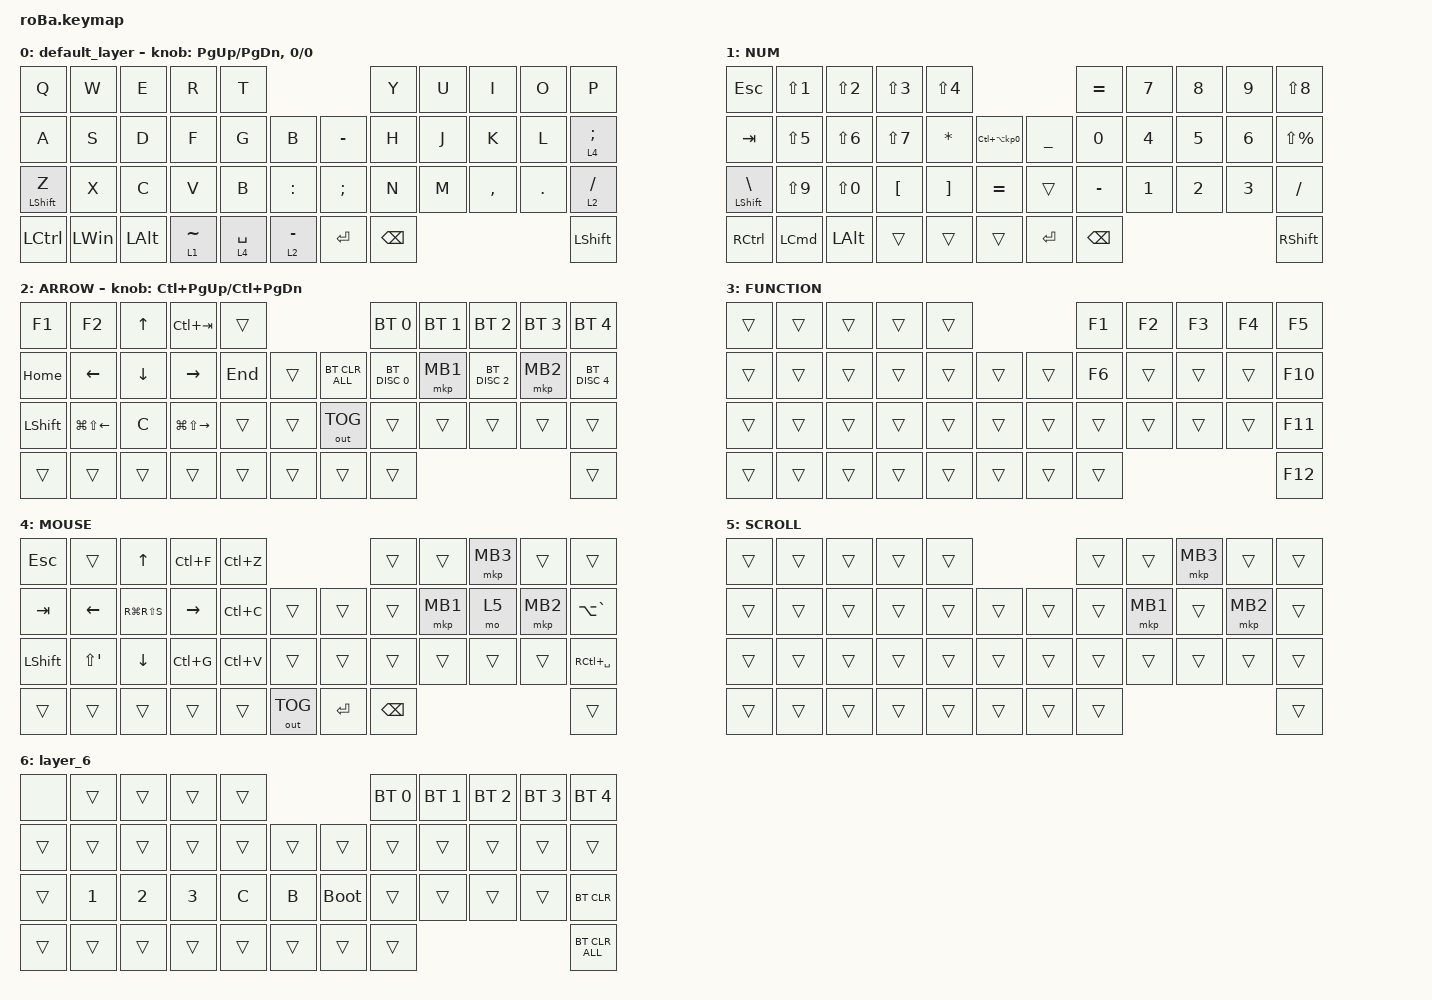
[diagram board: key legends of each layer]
#include <behaviors.dtsi>
#include <dt-bindings/zmk/bt.h>
#include <dt-bindings/zmk/keys.h>
#include <dt-bindings/zmk/outputs.h>
#include <dt-bindings/zmk/pointing.h>

#define MOUSE 4
#define SCROLL 5
#define NUM 6

&mt {
    flavor = "balanced";
    quick-tap-ms = <0>;
};

&lt { tapping-term-ms = <300>; };

/ {
    combos {
        compatible = "zmk,combos";

        tab {
            bindings = <&kp TAB>;
            key-positions = <11 12>;
        };

        shift_tab {
            bindings = <&kp LS(TAB)>;
            key-positions = <12 13>;
        };

        muhennkann {
            bindings = <&to_layer_0 INT_MUHENKAN>;
            key-positions = <11 10>;
        };

        double_quotation {
            bindings = <&kp DOUBLE_QUOTES>;
            key-positions = <20 21>;
        };

        eq {
            bindings = <&kp EQUAL>;
            key-positions = <24 25>;
        };
    };

    macros {
        to_layer_0: to_layer_0 {
            compatible = "zmk,behavior-macro-one-param";
            #binding-cells = <1>;
            bindings = <&to 0 &macro_param_1to1 &kp MACRO_PLACEHOLDER>;
            label = "TO_LAYER_0";
        };
    };

    behaviors {
        lt_to_layer_0: lt_to_layer_0 {
            compatible = "zmk,behavior-hold-tap";
            label = "LAYER_TAP_TO_0";
            bindings = <&mo>, <&to_layer_0>;

            #binding-cells = <2>;
            tapping-term-ms = <200>;
        };
    };

    keymap {
        compatible = "zmk,keymap";

        default_layer {
            bindings = <
&kp Q             &kp W         &kp E         &kp R        &kp T                                      &kp Y          &kp U  &kp I      &kp O    &kp P
&kp A             &kp S         &kp D         &kp F        &kp G        &kp B          &kp MINUS      &kp H          &kp J  &kp K      &kp L    &lt 4 SEMICOLON
&mt LEFT_SHIFT Z  &kp X         &kp C         &kp V        &kp B        &kp COLON      &kp SEMICOLON  &kp N          &kp M  &kp COMMA  &kp DOT  &lt 2 SLASH
&kp LCTRL         &kp LEFT_WIN  &kp LEFT_ALT  &lt 1 TILDE  &lt 4 SPACE  &lt 2 MINUS    &kp ENTER      &kp BACKSPACE                             &kp LEFT_SHIFT
            >;

            sensor-bindings = <&inc_dec_kp PG_UP PAGE_DOWN>, <&inc_dec_kp 0 0>;
        };

        NUM {
            bindings = <
&kp ESC                   &kp LS(NUMBER_1)  &kp LS(NUMBER_2)  &kp LS(NUMBER_3)  &kp LS(NUMBER_4)                                              &kp EQUAL      &kp NUMBER_7  &kp NUMBER_8  &kp NUMBER_9  &kp LS(NUMBER_8)
&kp TAB                   &kp LS(NUMBER_5)  &kp LS(NUMBER_6)  &kp LS(NUMBER_7)  &kp ASTERISK       &kp LC(LA(KP_NUMBER_0))    &kp UNDERSCORE  &kp NUMBER_0   &kp NUMBER_4  &kp NUMBER_5  &kp NUMBER_6  &kp LS(PERCENT)
&mt LEFT_SHIFT BACKSLASH  &kp LS(NUMBER_9)  &kp LS(NUMBER_0)  &kp LEFT_BRACKET  &kp RIGHT_BRACKET  &kp EQUAL                  &trans          &kp MINUS      &kp NUMBER_1  &kp NUMBER_2  &kp NUMBER_3  &kp SLASH
&kp RCTRL                 &kp LEFT_COMMAND  &kp LEFT_ALT      &trans            &trans             &trans                     &kp ENTER       &kp BACKSPACE                                            &kp RIGHT_SHIFT
            >;
        };

        ARROW {
            bindings = <
&kp F1          &kp F2                  &kp UP_ARROW    &kp LC(TAB)              &trans                             &bt BT_SEL 0   &bt BT_SEL 1  &bt BT_SEL 2   &bt BT_SEL 3  &bt BT_SEL 4
&kp HOME        &kp LEFT_ARROW          &kp DOWN_ARROW  &kp RIGHT_ARROW          &kp END  &trans    &bt BT_CLR_ALL  &bt BT_DISC 0  &mkp MB1      &bt BT_DISC 2  &mkp MB2      &bt BT_DISC 4
&kp LEFT_SHIFT  &kp LG(LS(LEFT_ARROW))  &kp C           &kp LG(LS(RIGHT_ARROW))  &trans   &trans    &out OUT_TOG    &trans         &trans        &trans         &trans        &trans
&trans          &trans                  &trans          &trans                   &trans   &trans    &trans          &trans                                                    &trans
            >;

            sensor-bindings = <&inc_dec_kp LC(PAGE_UP) LC(PAGE_DOWN)>;
        };

        FUNCTION {
            bindings = <
&trans  &trans  &trans  &trans  &trans                    &kp F1  &kp F2  &kp F3  &kp F4  &kp F5
&trans  &trans  &trans  &trans  &trans  &trans    &trans  &kp F6  &trans  &trans  &trans  &kp F10
&trans  &trans  &trans  &trans  &trans  &trans    &trans  &trans  &trans  &trans  &trans  &kp F11
&trans  &trans  &trans  &trans  &trans  &trans    &trans  &trans                          &kp F12
            >;
        };

        MOUSE {
            bindings = <
&kp ESC     &trans       &kp UP         &kp LC(F)  &kp LC(Z)                             &trans         &trans    &mkp MB3  &trans    &trans
&kp TAB     &kp LEFT     &kp RG(RS(S))  &kp RIGHT  &kp LC(C)  &trans          &trans     &trans         &mkp MB1  &mo 5     &mkp MB2  &kp LA(GRAVE)
&kp LSHIFT  &kp LS(SQT)  &kp DOWN       &kp LC(G)  &kp LC(V)  &trans          &trans     &trans         &trans    &trans    &trans    &kp RC(SPACE)
&trans      &trans       &trans         &trans     &trans     &out OUT_TOG    &kp ENTER  &kp BACKSPACE                                &trans
            >;
        };

        SCROLL {
            bindings = <
&trans  &trans  &trans  &trans  &trans                    &trans  &trans    &mkp MB3  &trans    &trans
&trans  &trans  &trans  &trans  &trans  &trans    &trans  &trans  &mkp MB1  &trans    &mkp MB2  &trans
&trans  &trans  &trans  &trans  &trans  &trans    &trans  &trans  &trans    &trans    &trans    &trans
&trans  &trans  &trans  &trans  &trans  &trans    &trans  &trans                                &trans
            >;
        };

        layer_6 {
            bindings = <
&none   &trans        &trans        &trans        &trans                         &bt BT_SEL 0  &bt BT_SEL 1  &bt BT_SEL 2  &bt BT_SEL 3  &bt BT_SEL 4
&trans  &trans        &trans        &trans        &trans  &trans    &trans       &trans        &trans        &trans        &trans        &trans
&trans  &kp NUMBER_1  &kp NUMBER_2  &kp NUMBER_3  &kp C   &kp B     &bootloader  &trans        &trans        &trans        &trans        &bt BT_CLR
&trans  &trans        &trans        &trans        &trans  &trans    &trans       &trans                                                  &bt BT_CLR_ALL
            >;
        };
    };
};
